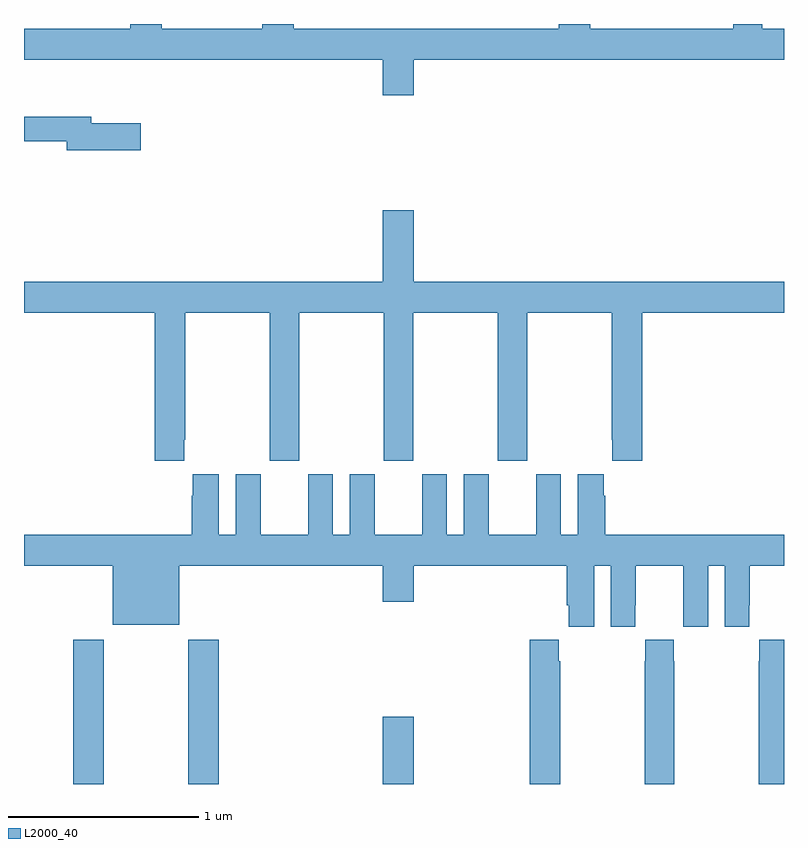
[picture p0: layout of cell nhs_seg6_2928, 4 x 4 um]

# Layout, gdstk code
import gdstk
lib = gdstk.Library(unit=1e-6, precision=1e-09)
def R(c, l, rs):  # rectangles x0, y0, x1, y1
    for r in rs: c.add(gdstk.rectangle(r[:2], r[2:], *l))
def P(c, l, *ps):  # polygons
    for p in ps: c.add(gdstk.Polygon(p, *l))
L2000_40 = (2000, 40)

nhs_seg6_2928 = lib.new_cell('nhs_seg6_2928')
R(nhs_seg6_2928, L2000_40, [(283.259,967.5,283.419,968.26), (283.864,967.5,284.024,968.26), (284.888,967.5,285.052,967.855)])
P(nhs_seg6_2928, L2000_40, [(285.052,971.312),(287,971.312),(287,971.476),(286.885,971.476),(286.885,971.5),(286.733,971.5),(286.733,971.476),(285.98,971.476),(285.98,971.5),(285.815,971.5),(285.815,971.476),(284.42,971.476),(284.42,971.5),(284.255,971.5),(284.255,971.476),(283.724,971.476),(283.724,971.5),(283.559,971.5),(283.559,971.476),(283,971.476),(283,971.312),(284.888,971.312),(284.888,971.124),(285.052,971.124)],
  [(283.615,970.977),(283.354,970.977),(283.354,971.011),(283,971.011),(283,970.882),(283.226,970.882),(283.226,970.835),(283.615,970.835)],
  [(285.052,970.519),(284.888,970.519),(284.888,970.144),(283,970.144),(283,969.98),(283.688,969.98),(283.688,969.201),(283.843,969.201),(283.843,969.313),(283.848,969.313),(283.848,969.98),(284.293,969.98),(284.293,969.201),(284.448,969.201),(284.448,969.98),(284.893,969.98),(284.893,969.201),(285.048,969.201),(285.048,969.98),(285.493,969.98),(285.493,969.201),(285.648,969.201),(285.648,969.98),(286.093,969.98),(286.093,969.313),(286.097,969.313),(286.097,969.201),(286.253,969.201),(286.253,969.98),(287,969.98),(287,970.144),(285.052,970.144)],
  [(286.051,969.017),(286.051,969.13),(285.914,969.13),(285.914,968.812),(285.826,968.812),(285.826,969.13),(285.695,969.13),(285.695,968.812),(285.445,968.812),(285.445,969.13),(285.314,969.13),(285.314,968.812),(285.226,968.812),(285.226,969.13),(285.095,969.13),(285.095,968.812),(284.845,968.812),(284.845,969.13),(284.714,969.13),(284.714,968.812),(284.626,968.812),(284.626,969.13),(284.495,969.13),(284.495,968.812),(284.245,968.812),(284.245,969.13),(284.114,969.13),(284.114,968.812),(284.026,968.812),(284.026,969.13),(283.889,969.13),(283.889,969.017),(283.883,969.017),(283.883,968.812),(283,968.812),(283,968.648),(283.466,968.648),(283.466,968.339),(283.816,968.339),(283.816,968.648),(284.888,968.648),(284.888,968.46),(285.052,968.46),(285.052,968.648),(285.857,968.648),(285.857,968.44),(285.866,968.44),(285.866,968.328),(286,968.328),(286,968.648),(286.088,968.648),(286.088,968.328),(286.218,968.328),(286.218,968.44),(286.219,968.44),(286.219,968.648),(286.469,968.648),(286.469,968.44),(286.47,968.44),(286.47,968.328),(286.6,968.328),(286.6,968.648),(286.688,968.648),(286.688,968.328),(286.818,968.328),(286.818,968.44),(286.819,968.44),(286.819,968.648),(287,968.648),(287,968.812),(286.058,968.812),(286.058,969.017)],
  [(287,968.26),(286.869,968.26),(286.869,968.147),(286.867,968.147),(286.867,967.5),(287,967.5)],
  [(286.422,968.147),(286.419,968.147),(286.419,968.26),(286.269,968.26),(286.269,968.147),(286.267,968.147),(286.267,967.5),(286.422,967.5)],
  [(285.822,968.147),(285.815,968.147),(285.815,968.26),(285.662,968.26),(285.662,967.5),(285.822,967.5)])

lib.write_gds('nhs_seg6_2928.gds')
